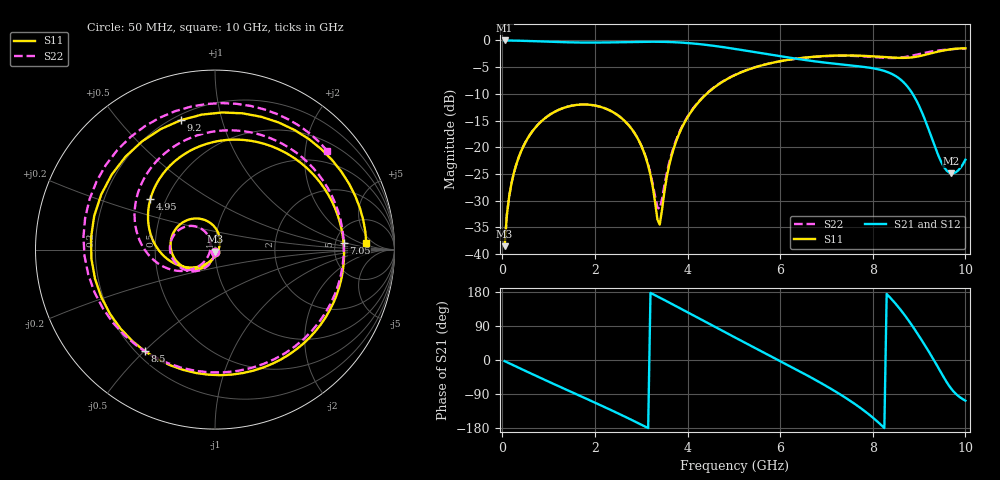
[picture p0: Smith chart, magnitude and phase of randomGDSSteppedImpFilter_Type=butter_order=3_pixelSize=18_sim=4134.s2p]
! freq	dB(S11)	phase(S11)	dB(S12)	phase(S12)
!  dB(S21)	phase(S21)	dB(S22)	phase(S22)
!S-par simulation data
#  GHz  S  DB  R 50
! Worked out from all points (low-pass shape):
!   200 points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, 50 MHz to 10 GHz, reference 50 ohm
!   highest |S21| = -0.01 dB at 50 MHz (marker M1); lowest = -24.9 dB at 9.7 GHz (marker M2)
!   |S21| within 3 dB of the highest: start of sweep to 6.027 GHz
!   lowest |S11| = -38.5 dB at 50 MHz (marker M3), VSWR 1.02, Z = 50 - j1.18 ohm
!   |S11| at or under -10 dB: start of sweep to 4.413 GHz
!   |S22| runs from -38.5 to -1.6 dB; largest |S21 - S12| = 0
!   S11 on the Smith chart (normalised r, x): 50 MHz: 1.00, -0.02; 4.95 GHz: 0.41, +0.29; 7.05 GHz: 5.94, +0.90; 8.5 GHz: 0.23, -0.50; 9.2 GHz: 0.23, +0.75; 10 GHz: 11, +3
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0.05  -38.53 -91.2  -0.01 -2.9  -0.01 -2.9  -38.52 -90.9
0.2  -26.69 -102.4  -0.03 -11.6  -0.03 -11.6  -26.68 -101.3
0.5  -19.07 -120.4  -0.09 -28.8  -0.09 -28.8  -19.06 -117.6
1.75  -12.00 165.3  -0.40 -98.6  -0.40 -98.6  -11.99 176.3
2.85  -17.28 94.8  -0.28 -161.5  -0.28 -161.5  -17.27 122.9
3.15  -23.43 67.5  -0.25 -179.7  -0.25 -179.7  -23.28 117.0
3.4  -34.48 -35.8  -0.26 164.6  -0.26 164.6  -31.54 -177.4
3.6  -23.54 -111.4  -0.30 151.9  -0.30 151.9  -23.03 -132.6
3.9  -15.97 -141.2  -0.43 132.5  -0.43 132.5  -15.81 -138.4
4.4  -10.10 -179.1  -0.83 99.9  -0.83 99.9  -10.03 -164.1
4.95  -6.80 142.0  -1.49 64.3  -1.49 64.3  -6.76 164.3
5.05  -6.38 135.1  -1.63 57.9  -1.63 57.9  -6.35 158.4
5.9  -4.07 78.0  -2.83 3.7  -2.83 3.7  -4.06 108.0
6.7  -3.08 25.9  -3.86 -48.4  -3.86 -48.4  -3.11 57.0
7.05  -2.88 2.9  -4.24 -72.6  -4.24 -72.6  -2.92 32.4
7.75  -2.87 -46.8  -4.90 -127.9  -4.90 -127.9  -2.96 -25.2
8.35  -3.18 -104.7  -6.03 168.0  -6.03 168.0  -3.29 -92.4
8.5  -3.25 -124.8  -6.70 147.5  -6.70 147.5  -3.28 -113.4
8.85  -3.17 174.4  -9.86 90.7  -9.86 90.7  -2.86 -168.8
9.2  -2.55 104.7  -16.51 24.2  -16.51 24.2  -2.19 134.4
9.7  -1.65 31.6  -24.89 -76.6  -24.89 -76.6  -1.64 70.6
10  -1.48 2.4  -22.34 -107.4  -22.34 -107.4  -1.59 41.3
